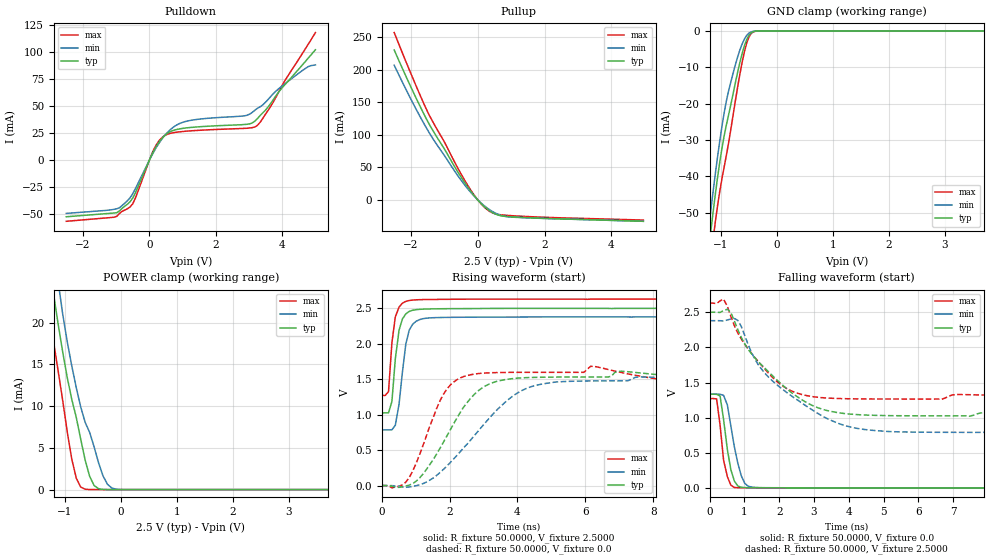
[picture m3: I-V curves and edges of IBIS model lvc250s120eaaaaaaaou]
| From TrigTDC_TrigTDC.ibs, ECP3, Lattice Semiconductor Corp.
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[Model]   lvc250s120eaaaaaaaou
Model_type   Output
Polarity   Non-Inverting
Enable   Active-Low
Vmeas =   1.250000V
Cref =   0.0F
Rref =   1.000000M
Vref =   0.0V
C_comp   2.7pF   2.2pF   3.2pF
[Temperature Range]   25.000000   0.105000k   -40.000000
[Voltage Range]   2.500000V   2.380000V   2.630000V
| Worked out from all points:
|   slope of the pulldown table from 0 to 0.375 V, typ, clamps not added: 18.6 ohm
|   slope of the pullup table from 0 to 0.375 V, typ, clamps not added: 21.5 ohm
|   GND clamp passes 1 mA (typ) near -0.48 V on its own axis
|   POWER clamp passes 1 mA (typ) near -0.52 V on its own axis
|   rising waveform, R_fixture 50.0000, V_fixture 2.5000: 20-80 % time 196ps typ, 249ps min, 163ps max; typ from 1.03 V to 2.5 V
|   rising waveform, R_fixture 50.0000, V_fixture 0.0: 20-80 % time 985ps typ, 1.49ns min, 603ps max; typ from 0.001 V to 1.33 V
|   falling waveform, R_fixture 50.0000, V_fixture 0.0: 20-80 % time 235ps typ, 309ps min, 198ps max; typ from 1.33 V to 0.001 V
|   falling waveform, R_fixture 50.0000, V_fixture 2.5000: 20-80 % time 1.59ns typ, 1.84ns min, 1.2ns max; typ from 2.5 V to 1.03 V
[Pulldown]
|Voltage   I(typ)   I(min)   I(max)
-2.5V     -52.25mA   -49.14mA   -56.44mA
-980mV    -48.47mA   -44.85mA   -51.82mA
-580mV    -38.34mA   -34.65mA   -43.22mA
-420mV    -30.08mA   -26.26mA   -34.95mA
140mV     9.092mA    8.181mA    10.36mA
460mV     22.87mA    22.83mA    22.82mA
1.02V     29.55mA    35.26mA    26.65mA
2.86V     33.09mA    41.07mA    29.5mA
3.26V     38.78mA    48.23mA    32.51mA
3.66V     52.85mA    59.2mA     50.22mA
4.46V     83mA       79.65mA    91.71mA
5V        102.2mA    88.22mA    118.1mA
[Pullup]
|Voltage   I(typ)   I(min)   I(max)
-2.5V     230mA      206.6mA    256.7mA
-1.8V     151.4mA    134.9mA    169.5mA
-1.4V     111.4mA    98.62mA    125mA
-1V       78.32mA    68.24mA    89.05mA
-680mV    49.93mA    43.25mA    56.92mA
-280mV    18.24mA    15.83mA    20.67mA
40mV      -2.291mA   -1.999mA   -2.555mA
280mV     -13.94mA   -12.46mA   -14.91mA
440mV     -19.54mA   -17.9mA    -19.98mA
600mV     -23.23mA   -22.01mA   -22.36mA
920mV     -25.8mA    -26.11mA   -23.97mA
4.96V     -32.94mA   -32.96mA   -31.06mA
[GND_clamp]
|Voltage   I(typ)   I(min)   I(max)
-2.5V     -568.6mA   -547.1mA   -588.5mA
-1.22V    -60.54mA   -54.72mA   -68.21mA
-1.18V    -55.2mA    -49.48mA   -62.76mA
-1.14V    -50.04mA   -44.39mA   -57.56mA
-1.1V     -45.12mA   -39.48mA   -52.69mA
-980mV    -32.3mA    -26.24mA   -40.67mA
-860mV    -23.02mA   -16.41mA   -30.71mA
-620mV    -6.287mA   -3.641mA   -8.712mA
-540mV    -2.491mA   -1.319mA   -3.479mA
-460mV    -573.6uA   -307.8uA   -753.4uA
-220mV    -1.025uA   -813nA     -2.371uA
5V        0A         0A         0A
[POWER_clamp]
|Voltage   I(typ)   I(min)   I(max)
-2.48V    124.9mA    102.5mA    134.5mA
-1.36V    32.3mA     38.16mA    25.39mA
-1.28V    27.24mA    33.51mA    21.29mA
-1.2V     23.23mA    29.02mA    17.5mA
-1.12V    19.71mA    24.79mA    14.1mA
-880mV    10.84mA    14.86mA    3.692mA
-800mV    8.686mA    12.25mA    1.4mA
-640mV    3.538mA    8.06mA     47.54uA
-480mV    487.9uA    5.126mA    984.8nA
-320mV    20.48uA    1.632mA    42.33nA
-80mV     92.79nA    41.37uA    28.93nA
5V        -36.28nA   -54.82nA   -198.9nA
[Ramp]
| variable   typ   min   max
dV/dt_r  0.8965/1.1222n   0.8941/1.6943n   0.8407/0.6559n
dV/dt_f  0.8645/1.5198n   0.9484/1.8217n   0.7943/1.1348n
R_load = 50.0000
[Rising Waveform]
R_fixture=   50.0000
V_fixture=   2.5000
V_fixture_min=   2.3800
V_fixture_max=   2.6300
|time   V(typ)   V(min)   V(max)
0s        1.026V     786.4mV    1.271V
200ps     1.026V     786.4mV    1.326V
300ps     1.186V     787.2mV    2.015V
400ps     1.786V     850.9mV    2.38V
510ps     2.192V     1.148V     2.517V
710ps     2.422V     1.997V     2.599V
810ps     2.457V     2.192V     2.611V
1.01ns    2.482V     2.317V     2.62V
1.21ns    2.489V     2.354V     2.624V
20ns      2.5V       2.38V      2.63V
[Rising Waveform]
R_fixture=   50.0000
V_fixture=   0.0
V_fixture_min=   0.0
V_fixture_max=   0.0
|time   V(typ)   V(min)   V(max)
0s        861.1uV    961.5uV    755uV
610ps     -14.94mV   -19.29mV   10.57mV
1.11ns    105.1mV    10.71mV    429.1mV
1.92ns    699.5mV    276.2mV    1.362V
2.73ns    1.288V     705.1mV    1.573V
3.94ns    1.513V     1.288V     1.597V
5.15ns    1.531V     1.462V     1.598V
6.26ns    1.532V     1.477V     1.682V
9.9ns     1.498V     1.493V     1.406V
20ns      1.33V      1.33V      1.27V
[Falling Waveform]
R_fixture=   50.0000
V_fixture=   0.0
V_fixture_min=   0.0
V_fixture_max=   0.0
|time   V(typ)   V(min)   V(max)
0s        1.334V     1.335V     1.272V
200ps     1.332V     1.335V     1.267V
300ps     1.308V     1.333V     891.1mV
400ps     974.3mV    1.317V     394.6mV
510ps     542.5mV    1.179V     157.5mV
710ps     97.68mV    585.3mV    6.001mV
910ps     8.506mV    171.7mV    2.152mV
1.11ns    2.963mV    23mV       1.679mV
1.52ns    1.783mV    3.586mV    1.357mV
20ns      879.3uV    976.5uV    764.3uV
[Falling Waveform]
R_fixture=   50.0000
V_fixture=   2.5000
V_fixture_min=   2.3800
V_fixture_max=   2.6300
|time   V(typ)   V(min)   V(max)
0s        2.5V       2.38V      2.63V
400ps     2.525V     2.375V     2.687V
610ps     2.494V     2.403V     2.439V
810ps     2.251V     2.384V     2.205V
1.41ns    1.79V      1.743V     1.788V
2.12ns    1.452V     1.394V     1.444V
3.13ns    1.138V     1.054V     1.289V
4.34ns    1.04V      839mV      1.267V
7.17ns    1.025V     790.5mV    1.329V
20ns      1.03V      799.4mV    1.27V
